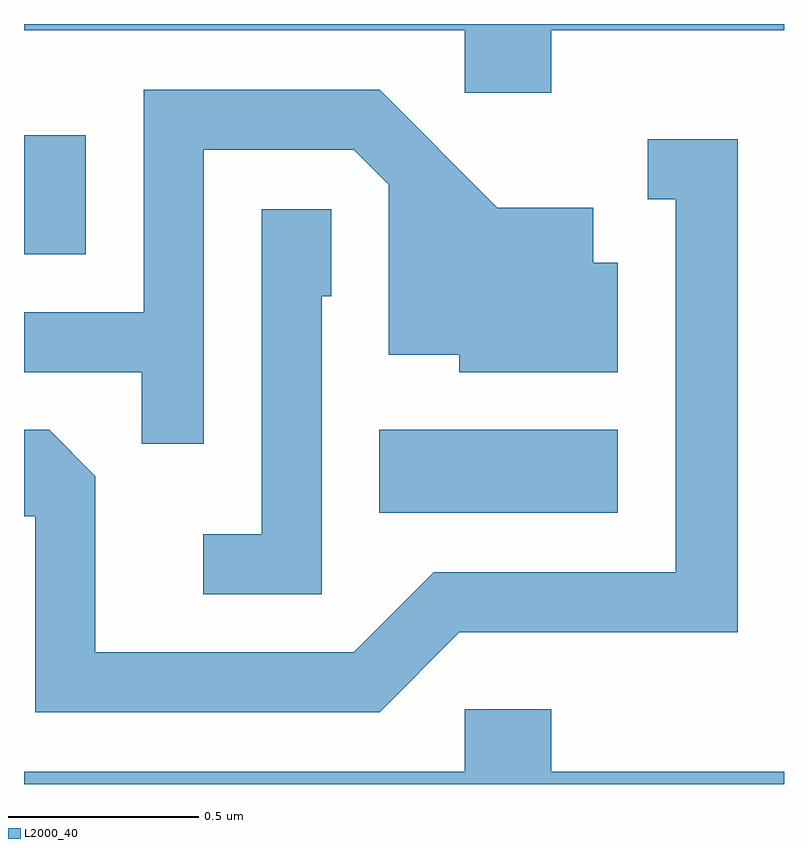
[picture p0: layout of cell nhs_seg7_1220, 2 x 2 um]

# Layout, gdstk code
import gdstk
lib = gdstk.Library(unit=1e-6, precision=1e-09)
def R(c, l, rs):  # rectangles x0, y0, x1, y1
    for r in rs: c.add(gdstk.rectangle(r[:2], r[2:], *l))
def P(c, l, *ps):  # polygons
    for p in ps: c.add(gdstk.Polygon(p, *l))
L2000_40 = (2000, 40)

nhs_seg7_1220 = lib.new_cell('nhs_seg7_1220')
R(nhs_seg7_1220, L2000_40, [(194.546,1792.966,195.174,1793.184), (193.611,1793.646,193.774,1793.959)])
P(nhs_seg7_1220, L2000_40, [(194.999,1794.236),(195.611,1794.236),(195.611,1794.252),(193.611,1794.252),(193.611,1794.236),(194.771,1794.236),(194.771,1794.071),(194.999,1794.071)],
  [(194.084,1793.921),(194.479,1793.921),(194.571,1793.829),(194.571,1793.381),(194.756,1793.381),(194.756,1793.336),(195.174,1793.336),(195.174,1793.624),(195.109,1793.624),(195.109,1793.769),(194.857,1793.769),(194.547,1794.079),(193.926,1794.079),(193.926,1793.494),(193.611,1793.494),(193.611,1793.336),(193.921,1793.336),(193.921,1793.148),(194.084,1793.148)],
  [(194.757,1792.651),(195.489,1792.651),(195.489,1793.949),(195.253,1793.949),(195.253,1793.791),(195.326,1793.791),(195.326,1792.809),(194.689,1792.809),(194.479,1792.599),(193.799,1792.599),(193.799,1793.062),(193.677,1793.184),(193.611,1793.184),(193.611,1792.956),(193.641,1792.956),(193.641,1792.441),(194.547,1792.441)],
  [(194.394,1793.536),(194.419,1793.536),(194.419,1793.764),(194.236,1793.764),(194.236,1792.909),(194.083,1792.909),(194.083,1792.751),(194.394,1792.751)],
  [(195.611,1792.284),(194.999,1792.284),(194.999,1792.449),(194.771,1792.449),(194.771,1792.284),(193.611,1792.284),(193.611,1792.252),(195.611,1792.252)])

lib.write_gds('nhs_seg7_1220.gds')
